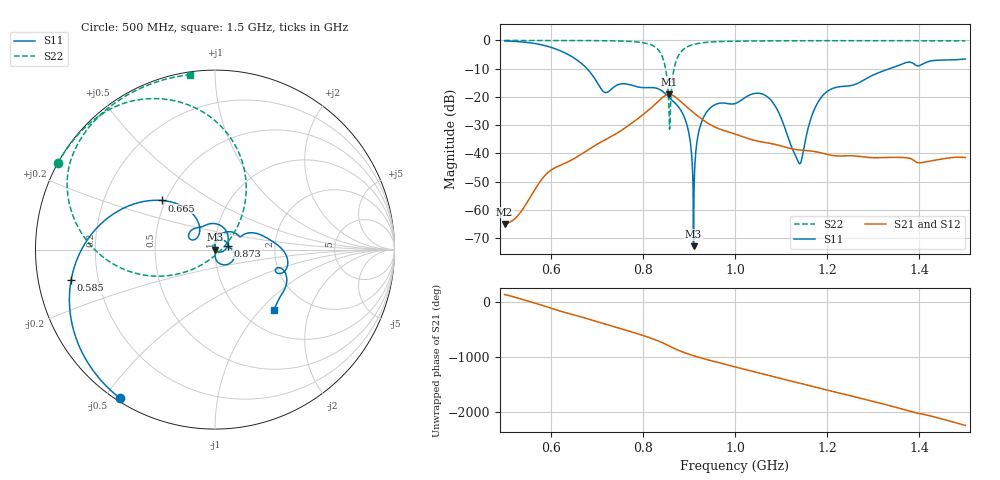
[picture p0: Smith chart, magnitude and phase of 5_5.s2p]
! TOUCHSTONE file generated by CST MICROWAVE STUDIO
! Date and time: Fri Oct  2 19:08:37 2020
! Project name: Scenario_1_Free_Space_out_of_line.cst
! Parameters = {Lambda=346.42; Step_1=17.321; dy1=278.276; dx1=866; L_HA=400; MT=2.54; Rad_Dielectric=30; Rad_Lower=7.3; Rad_Upper=30; a_HA=580; a_WG=246; b_HA=500; b_WG=121; c_HA=0; c_WG=187; d_feed=85; h_feed=15; h_lower=18; h_upper=40}
! Header version: 2018
! Port assignment regex: !\s*Touchstone port\s*([0-9]+)\s*=\s*(CST MWS port|CST DS port)\s*([0-9]+|Zmin|Zmax)\s*\(\"(.*)\"\)(\s*mode\s*([0-9]+))?.*
! Touchstone port assignment:
! Touchstone port 1 = CST MWS port 1 ("")
! Touchstone port 2 = CST MWS port 2 ("")
# GHz S DB R 50
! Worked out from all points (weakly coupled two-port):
!   1003 points, 500 MHz to 1.5 GHz, reference 50 ohm
!   highest |S21| = -19.13 dB at 857 MHz (marker M1); lowest = -64.9 dB at 500 MHz (marker M2)
!   lowest |S11| = -72.8 dB at 910 MHz (marker M3), VSWR 1.00, Z = 50 - j0.0222 ohm
!   |S11| at or under -10 dB: 678.9 MHz to 1.336 GHz (657.4 MHz wide, 65.2 % of centre)
!   |S22| runs from -31.4 to 0.0 dB; largest |S21 - S12| = 3.3e-05
!   S11 on the Smith chart (normalised r, x): 500 MHz: 0.01, -0.55; 585 MHz: 0.10, -0.10; 665 MHz: 0.48, +0.31; 873 MHz: 1.15, +0.05; 1.5 GHz: 1.39, -1.19
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0.5  -0.15 -122.6  -64.94 127.7  -64.94 127.7  -0.01 151.2
0.585  -1.73 -168.1  -48.28 -77.8  -48.28 -77.7  -0.02 145.3
0.665  -7.90 137.2  -40.43 85.4  -40.43 85.4  -0.04 138.5
0.667  -8.17 135.8  -40.22 80.6  -40.22 80.6  -0.04 138.3
0.718  -18.44 141.1  -35.21 -46.9  -35.21 -46.9  -0.10 132.5
0.79  -16.49 123.7  -27.57 134.0  -27.57 134.0  -0.57 117.0
0.834  -17.17 78.0  -21.46 6.2  -21.46 6.2  -3.42 86.0
0.847  -18.59 56.1  -19.68 -41.8  -19.68 -41.8  -8.28 63.1
0.857  -20.21 41.2  -19.13 -83.3  -19.13 -83.3  -25.56 17.6
0.873  -22.69 17.9  -20.34 -147.4  -20.34 -147.4  -6.92 -162.6
0.897  -30.70 -28.4  -23.77 135.7  -23.77 135.7  -2.22 170.5
0.91  -72.84 -76.6  -25.56 100.1  -25.56 100.1  -1.44 162.9
0.914  -41.27 117.0  -26.09 89.7  -26.09 89.7  -1.27 161.0
0.921  -32.59 102.6  -27.00 72.1  -27.00 72.1  -1.04 158.1
0.935  -26.23 76.2  -28.66 39.1  -28.66 39.1  -0.73 153.2
1  -22.37 7.9  -33.14 -102.2  -33.14 -102.2  -0.27 140.3
1.073  -20.31 -61.4  -36.36 103.8  -36.36 103.8  -0.14 132.2
1.139  -43.45 5.1  -38.78 -34.0  -38.78 -34.0  -0.10 126.5
1.167  -26.59 85.7  -39.19 -92.7  -39.19 -92.7  -0.10 124.2
1.204  -17.64 49.2  -40.50 -170.6  -40.50 -170.6  -0.09 121.4
1.334  -10.13 10.0  -41.42 -80.9  -41.42 -80.9  -0.09 111.5
1.5  -6.58 -45.4  -41.46 -83.2  -41.45 -83.2  -0.14 98.0
